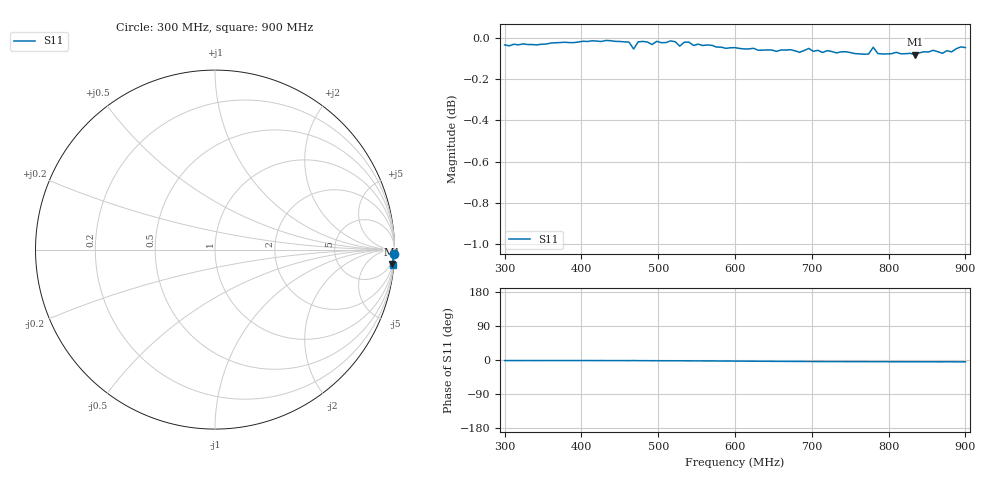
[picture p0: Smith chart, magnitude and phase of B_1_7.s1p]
# HZ S RI R 50
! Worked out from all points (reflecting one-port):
!   101 points, 300 MHz to 900 MHz, reference 50 ohm
!   lowest |S11| = -0.1 dB at 834 MHz (marker M1), VSWR 218.12, Z = 138 - j1.22e+03 ohm
!   phase of S11 starts at -2 deg and turns -3 deg over the sweep
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3e8  0.9959 -0.0266
3.78e8  0.9974 -0.0253
4.5e8  0.9978 -0.0279
4.62e8  0.9974 -0.0287
4.68e8  0.9936 -0.0251
4.74e8  0.9975 -0.0296
4.8e8  0.9978 -0.0292
4.92e8  0.9959 -0.0326
5.16e8  0.9979 -0.0343
5.28e8  0.9949 -0.0359
5.4e8  0.997 -0.0385
5.46e8  0.9951 -0.0401
6e8  0.9935 -0.0496
6.48e8  0.9915 -0.0617
6.78e8  0.9908 -0.0663
6.96e8  0.9919 -0.0682
7.5e8  0.9892 -0.0747
7.74e8  0.9882 -0.0766
7.8e8  0.9919 -0.0784
7.86e8  0.9885 -0.0769
8.28e8  0.9884 -0.0796
8.34e8  0.9876 -0.0802
8.52e8  0.9888 -0.0831
8.58e8  0.99 -0.0807
8.64e8  0.989 -0.083
8.82e8  0.989 -0.0815
8.88e8  0.9905 -0.0849
9e8  0.9913 -0.0836
